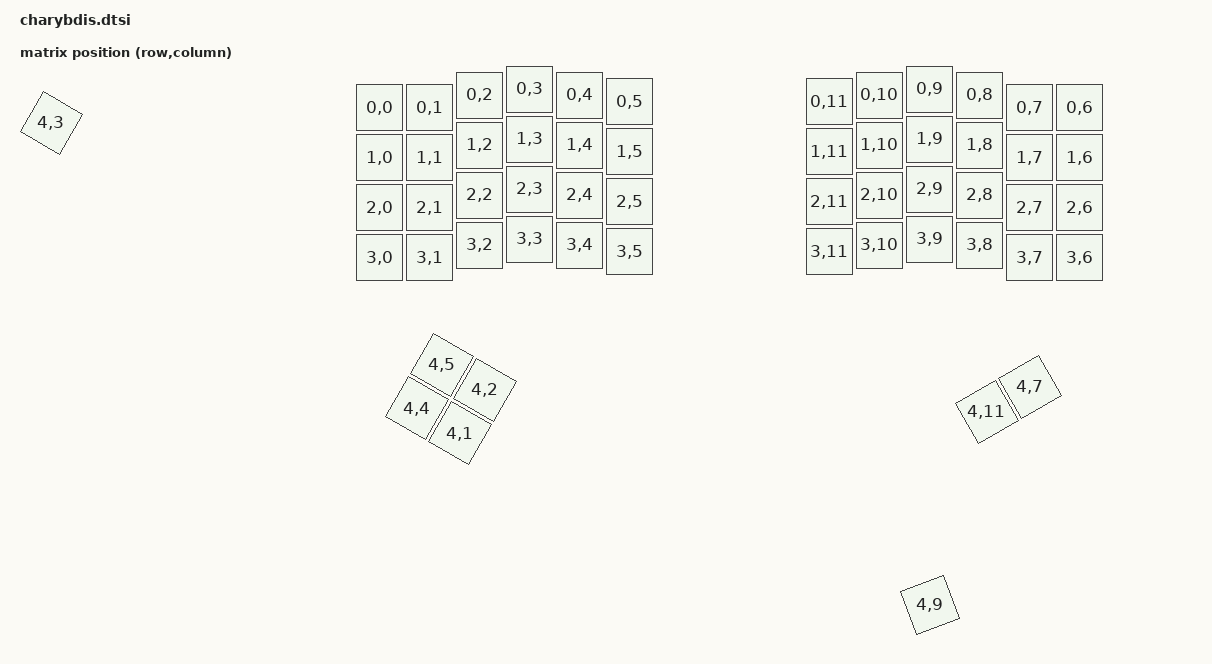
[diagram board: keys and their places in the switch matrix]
#include <dt-bindings/zmk/matrix_transform.h>
#include <physical_layouts.dtsi>

/ {
    chosen {
        zmk,kscan = &kscan0;
        zmk,physical-layout = &charybdis_layout;
    };

    charybdis_layout: charybdis_layout {
        compatible = "zmk,physical-layout";
        display-name = "Charybdis Layout";

        keys  //                     w   h    x    y     rot    rx    ry
            // Row 0
            = <&key_physical_attrs 100 100     0   37       0     0     0>
            , <&key_physical_attrs 100 100   100   37       0     0     0>
            , <&key_physical_attrs 100 100   200   12       0     0     0>
            , <&key_physical_attrs 100 100   300    0       0     0     0>
            , <&key_physical_attrs 100 100   400   12       0     0     0>
            , <&key_physical_attrs 100 100   500   25       0     0     0>
            , <&key_physical_attrs 100 100   900   25       0     0     0>
            , <&key_physical_attrs 100 100  1000   12       0     0     0>
            , <&key_physical_attrs 100 100  1100    0       0     0     0>
            , <&key_physical_attrs 100 100  1200   12       0     0     0>
            , <&key_physical_attrs 100 100  1300   37       0     0     0>
            , <&key_physical_attrs 100 100  1400   37       0     0     0>
            // Row 1
            , <&key_physical_attrs 100 100     0  137       0     0     0>
            , <&key_physical_attrs 100 100   100  137       0     0     0>
            , <&key_physical_attrs 100 100   200  112       0     0     0>
            , <&key_physical_attrs 100 100   300  100       0     0     0>
            , <&key_physical_attrs 100 100   400  112       0     0     0>
            , <&key_physical_attrs 100 100   500  125       0     0     0>
            , <&key_physical_attrs 100 100   900  125       0     0     0>
            , <&key_physical_attrs 100 100  1000  112       0     0     0>
            , <&key_physical_attrs 100 100  1100  100       0     0     0>
            , <&key_physical_attrs 100 100  1200  112       0     0     0>
            , <&key_physical_attrs 100 100  1300  137       0     0     0>
            , <&key_physical_attrs 100 100  1400  137       0     0     0>
            // Row 2
            , <&key_physical_attrs 100 100     0  237       0     0     0>
            , <&key_physical_attrs 100 100   100  237       0     0     0>
            , <&key_physical_attrs 100 100   200  212       0     0     0>
            , <&key_physical_attrs 100 100   300  200       0     0     0>
            , <&key_physical_attrs 100 100   400  212       0     0     0>
            , <&key_physical_attrs 100 100   500  225       0     0     0>
            , <&key_physical_attrs 100 100   900  225       0     0     0>
            , <&key_physical_attrs 100 100  1000  212       0     0     0>
            , <&key_physical_attrs 100 100  1100  200       0     0     0>
            , <&key_physical_attrs 100 100  1200  212       0     0     0>
            , <&key_physical_attrs 100 100  1300  237       0     0     0>
            , <&key_physical_attrs 100 100  1400  237       0     0     0>
            // Row 3
            , <&key_physical_attrs 100 100     0  337       0     0     0>
            , <&key_physical_attrs 100 100   100  337       0     0     0>
            , <&key_physical_attrs 100 100   200  312       0     0     0>
            , <&key_physical_attrs 100 100   300  300       0     0     0>
            , <&key_physical_attrs 100 100   400  312       0     0     0>
            , <&key_physical_attrs 100 100   500  325       0     0     0>
            , <&key_physical_attrs 100 100   900  325       0     0     0>
            , <&key_physical_attrs 100 100  1000  312       0     0     0>
            , <&key_physical_attrs 100 100  1100  300       0     0     0>
            , <&key_physical_attrs 100 100  1200  312       0     0     0>
            , <&key_physical_attrs 100 100  1300  337       0     0     0>
            , <&key_physical_attrs 100 100  1400  337       0     0     0>
            // Thumb cluster (with rotation) - order follows matrix transform
            // Matrix: RC(4,3) RC(4,4) RC(4,1) RC(4,7) RC(4,9) | RC(4,5) RC(4,2) RC(4,11)
            , <&key_physical_attrs 100 100   355  417   12000     0     0>      // RC(4,3) - JSON row:4 col:3
            , <&key_physical_attrs 100 100   298  452   30000   398   789>      // RC(4,4) - JSON row:4 col:4
            , <&key_physical_attrs 100 100   298  552   30000   398   789>      // RC(4,1) - JSON row:5 col:4
            , <&key_physical_attrs 100 100  1052  452 (-30000)  1102   789>     // RC(4,7) - JSON row:4 col:7
            , <&key_physical_attrs 100 100  1107  447 (-20000)  1102   789>     // RC(4,9) - JSON row:4 col:8
            , <&key_physical_attrs 100 100   398  452   30000   398   789>      // RC(4,5) - JSON row:4 col:5
            , <&key_physical_attrs 100 100   398  552   30000   398   789>      // RC(4,2) - JSON row:5 col:5
            , <&key_physical_attrs 100 100  1052  552 (-30000)  1102   789>     // RC(4,11) - JSON row:5 col:7
            ;

        transform = <&default_transform>;
    };

    default_transform: keymap_transform_0 {
        compatible = "zmk,matrix-transform";
        columns = <12>;
        rows = <5>;

        map = <
	RC(0,0) RC(0,1) RC(0,2) RC(0,3) RC(0,4) RC(0,5)  RC(0,11) RC(0,10) RC(0,9) RC(0,8) RC(0,7) RC(0,6)
	RC(1,0) RC(1,1) RC(1,2) RC(1,3) RC(1,4) RC(1,5)  RC(1,11) RC(1,10) RC(1,9) RC(1,8) RC(1,7) RC(1,6)
	RC(2,0) RC(2,1) RC(2,2) RC(2,3) RC(2,4) RC(2,5)  RC(2,11) RC(2,10) RC(2,9) RC(2,8) RC(2,7) RC(2,6)
        RC(3,0) RC(3,1) RC(3,2) RC(3,3) RC(3,4) RC(3,5)  RC(3,11) RC(3,10) RC(3,9) RC(3,8) RC(3,7) RC(3,6)
				RC(4,3) RC(4,4) RC(4,1)  RC(4,7) RC(4,9)
					RC(4,5) RC(4,2)	 RC(4,11)
        >;
    };

    kscan0: kscan {
        diode-direction = "row2col";
    };
};
